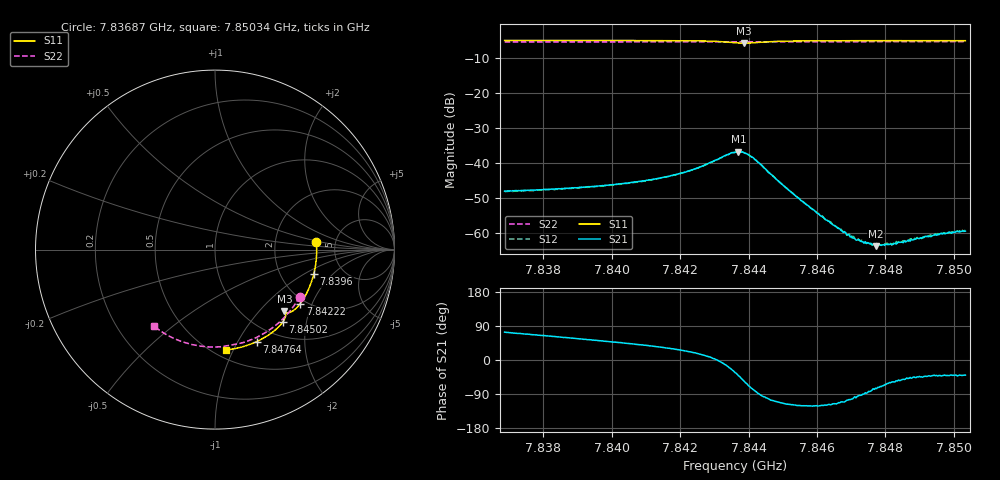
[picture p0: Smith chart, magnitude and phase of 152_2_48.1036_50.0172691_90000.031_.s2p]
#  HZ  S  RI  R  50.00
! Rohde & Schwarz Vector Network Analyzer
! Rohde-Schwarz,ZNB20-2Port,1311601062101988,3.16
! Created: UTC 12/23/2023, 3:49:51 AM
! freq[Hz]  re:S11  im:S11  re:S21  im:S21  re:S12  im:S12  re:S22  im:S22
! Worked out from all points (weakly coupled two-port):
!   401 points, 7.83687 GHz to 7.85034 GHz, reference 50 ohm
!   highest |S21| = -36.78 dB at 7.8437 GHz (marker M1); lowest = -63.9 dB at 7.84771 GHz (marker M2)
!   lowest |S11| = -5.7 dB at 7.84387 GHz (marker M3), VSWR 3.14, Z = 74 - j69.5 ohm
!   |S11| at or under -10 dB: nowhere
!   |S22| runs from -5.4 to -5.3 dB; largest |S21 - S12| = 0.00038
!   S11 on the Smith chart (normalised r, x): 7.83687 GHz: 3.54, +0.46; 7.8396 GHz: 3.07, -1.23; 7.84222 GHz: 1.87, -1.64; 7.84502 GHz: 1.26, -1.47; 7.84764 GHz: 0.80, -1.20; 7.85034 GHz: 0.57, -0.93
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7.836867e9  0.5643 0.0446  0.00111 0.00378  0.00113 0.00369  0.4715 -0.262
7.839124e9  0.5571 -0.1053  0.00255 0.00369  0.00253 0.00365  0.3763 -0.3878
7.839595e9  0.5503 -0.1361  0.00292 0.00363  0.00287 0.00359  0.3519 -0.4102
7.840538e9  0.5313 -0.1971  0.00379 0.00355  0.00375 0.00353  0.2994 -0.4503
7.84138e9  0.5073 -0.2499  0.00496 0.00341  0.00495 0.00341  0.2487 -0.4806
7.842222e9  0.4752 -0.301  0.00702 0.00293  0.00695 0.00296  0.1947 -0.5051
7.843098e9  0.4257 -0.3465  0.0112 -0.000168  0.0111 -0.000223  0.1359 -0.5231
7.843603e9  0.3908 -0.3502  0.0119 -0.00776  0.0119 -0.0075  0.1021 -0.5293
7.843704e9  0.3873 -0.3477  0.0108 -0.00965  0.0109 -0.00927  0.0957 -0.5303
7.843872e9  0.3864 -0.3441  0.00781 -0.0115  0.00778 -0.0116  0.0852 -0.5323
7.844175e9  0.3931 -0.3504  0.00177 -0.0111  0.00176 -0.0112  0.0655 -0.5362
7.845017e9  0.3769 -0.4047  -0.00195 -0.00431  -0.00196 -0.00436  0.0068 -0.5426
7.845859e9  0.3354 -0.4486  -0.00114 -0.00185  -0.00113 -0.00188  -0.0526 -0.541
7.846836e9  0.2803 -0.4874  -0.00032 -0.000953  -0.00029 -0.000949  -0.1204 -0.5307
7.847105e9  0.2645 -0.4964  -9.56e-05 -0.000815  -0.000149 -0.000814  -0.1389 -0.5263
7.847341e9  0.2504 -0.5039  2.95e-06 -0.000742  -3.17e-05 -0.000721  -0.1546 -0.5221
7.847644e9  0.232 -0.5128  0.00017 -0.000669  0.000133 -0.00066  -0.1751 -0.5159
7.847711e9  0.2278 -0.5149  0.000174 -0.000617  0.000144 -0.000659  -0.1797 -0.5143
7.848115e9  0.2028 -0.5251  0.000345 -0.000583  0.00034 -0.000615  -0.2062 -0.5045
7.848621e9  0.171 -0.5363  0.000507 -0.000554  0.00047 -0.00056  -0.2388 -0.4902
7.84953e9  0.1122 -0.5514  0.000694 -0.000634  0.000731 -0.000639  -0.2944 -0.4595
7.850338e9  0.0591 -0.5592  0.000808 -0.000672  0.000825 -0.000705  -0.3407 -0.4268
